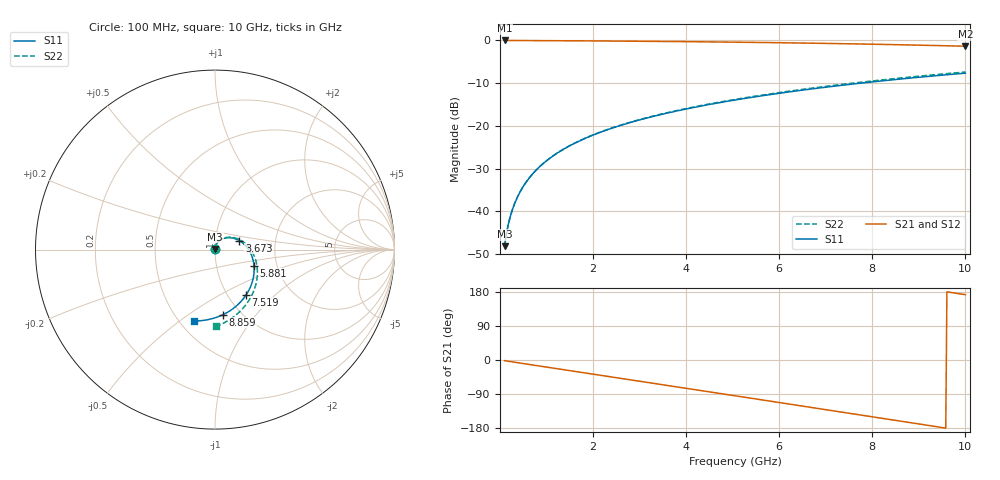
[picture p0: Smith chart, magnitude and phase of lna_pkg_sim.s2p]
!SYNTHETIC example data (scikit-rf model) - not an EM result, not a measurement
!'simulated' package path: 4 mm line, 1.00 nH, 0.15 pF, 2 mm line
! Created with skrf 2.2.0 (http://scikit-rf.org).
# GHz S RI R 50
!freq ReS11 ImS11 ReS21 ImS21 ReS12 ImS12 ReS22 ImS22
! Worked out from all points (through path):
!   400 points, 100 MHz to 10 GHz, reference 50 ohm
!   highest |S21| = 0.00 dB at 100 MHz (marker M1); lowest = -1.4 dB at 10 GHz (marker M2)
!   group delay of S21, straight-line fit = 52.1 ps
!   lowest |S11| = -48.1 dB at 100 MHz (marker M3), VSWR 1.01, Z = 50 + j0.392 ohm
!   |S11| at or under -10 dB: start of sweep to 7.745 GHz
!   |S22| runs from -48.1 to -7.4 dB; largest |S21 - S12| = 2.5e-16
!   S11 on the Smith chart (normalised r, x): 100 MHz: 1.00, +0.01; 3.673 GHz: 1.31, +0.13; 5.881 GHz: 1.52, -0.30; 7.519 GHz: 1.21, -0.68; 8.859 GHz: 0.83, -0.70; 10 GHz: 0.59, -0.57
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0.1  0.000129 0.00392  0.999 -0.0325  0.999 -0.0325  0.000126 0.00392
0.124812  0.000201 0.00489  0.9986 -0.0405  0.9986 -0.0405  0.000196 0.0049
0.1744361  0.000393 0.00683  0.9975 -0.0566  0.9975 -0.0566  0.000383 0.00684
0.2736842  0.000966 0.0107  0.9947 -0.0888  0.9947 -0.0888  0.000942 0.0107
0.3977444  0.00204 0.0155  0.9896 -0.1287  0.9896 -0.1287  0.00199 0.0155
0.5714286  0.00419 0.022  0.9799 -0.1842  0.9799 -0.1842  0.00409 0.022
0.7947368  0.00805 0.03  0.9627 -0.2545  0.9627 -0.2545  0.00786 0.0302
1.067669  0.0144 0.0392  0.9347 -0.3382  0.9347 -0.3382  0.0141 0.0394
1.390226  0.024 0.0487  0.8922 -0.4334  0.8922 -0.4334  0.0235 0.0492
1.762406  0.0378 0.0576  0.8311 -0.5365  0.8311 -0.5365  0.0371 0.0585
2.606015  0.0774 0.0665  0.6497 -0.7367  0.6497 -0.7367  0.0762 0.0691
3.4  0.1207 0.0574  0.436 -0.8717  0.436 -0.8717  0.1196 0.0628
3.672932  0.1357 0.0499  0.3556 -0.9044  0.3556 -0.9044  0.1349 0.0565
4.367669  0.1716 0.0204  0.1417 -0.9533  0.1417 -0.9533  0.1725 0.0309
5.062406  0.2001 -0.0238  -0.0762 -0.9517  -0.0762 -0.9517  0.2046 -0.00853
5.881203  0.2174 -0.0917  -0.3219 -0.886  -0.3219 -0.886  0.2298 -0.0705
6.7  0.2102 -0.171  -0.5379 -0.7574  -0.5379 -0.7574  0.2357 -0.1452
7.518797  0.1733 -0.2527  -0.7081 -0.5772  -0.7081 -0.5772  0.2177 -0.226
8.362406  0.1024 -0.3275  -0.8229 -0.3538  -0.8229 -0.3538  0.1717 -0.3077
8.858647  0.046 -0.3619  -0.8584 -0.2124  -0.8584 -0.2124  0.1317 -0.3513
9.429323  -0.0303 -0.3884  -0.8691 -0.0476  -0.8691 -0.0476  0.0747 -0.3944
10  -0.1156 -0.3976  -0.8479 0.1136  -0.8479 0.1136  0.00714 -0.4274
